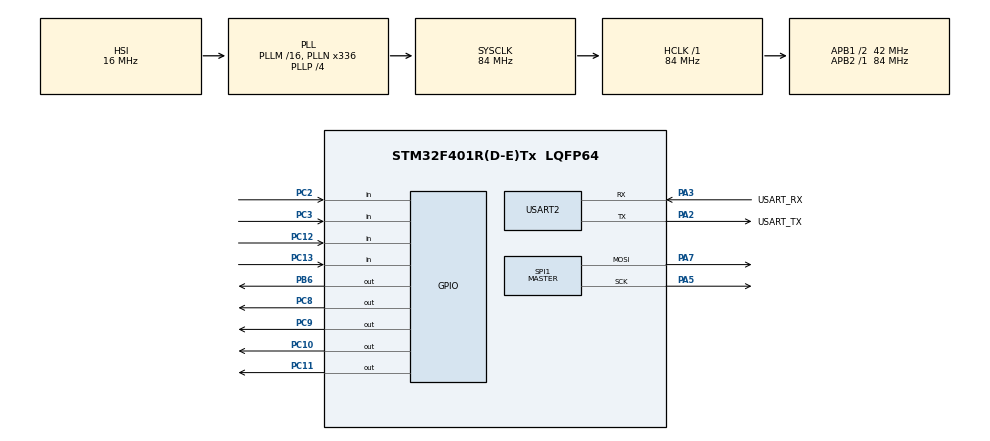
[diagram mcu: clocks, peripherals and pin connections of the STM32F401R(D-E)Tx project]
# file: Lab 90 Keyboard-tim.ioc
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Dma.Request0=SPI1_TX
Dma.SPI1_TX.0.Direction=DMA_MEMORY_TO_PERIPH
Dma.SPI1_TX.0.FIFOMode=DMA_FIFOMODE_DISABLE
Dma.SPI1_TX.0.Instance=DMA2_Stream3
Dma.SPI1_TX.0.MemDataAlignment=DMA_MDATAALIGN_BYTE
Dma.SPI1_TX.0.MemInc=DMA_MINC_ENABLE
Dma.SPI1_TX.0.Mode=DMA_NORMAL
Dma.SPI1_TX.0.PeriphDataAlignment=DMA_PDATAALIGN_BYTE
Dma.SPI1_TX.0.PeriphInc=DMA_PINC_DISABLE
Dma.SPI1_TX.0.Priority=DMA_PRIORITY_LOW
Mcu.Family=STM32F4
Mcu.Name=STM32F401R(D-E)Tx
Mcu.Package=LQFP64
NVIC.DMA2_Stream3_IRQn=true\:0\:0\:false\:false\:true\:false\:true\:true
NVIC.PriorityGroup=NVIC_PRIORITYGROUP_0
NVIC.SPI1_IRQn=true\:0\:0\:false\:false\:true\:true\:true\:true
NVIC.TIM2_IRQn=true\:0\:0\:false\:false\:true\:true\:true\:true
NVIC.TIM3_IRQn=true\:0\:0\:false\:false\:true\:true\:true\:true
PA13.GPIO_Label=TMS
PA13.Mode=Serial_Wire
PA13.Signal=SYS_JTMS-SWDIO
PA14.GPIO_Label=TCK
PA14.Mode=Serial_Wire
PA14.Signal=SYS_JTCK-SWCLK
PA2.GPIO_Label=USART_TX
PA2.GPIO_Mode=GPIO_MODE_AF_PP
PA2.GPIO_PuPd=GPIO_NOPULL
PA2.GPIO_Speed=GPIO_SPEED_FREQ_LOW
PA2.Mode=Asynchronous
PA2.Signal=USART2_TX
PA3.GPIO_Label=USART_RX
PA3.GPIO_Mode=GPIO_MODE_AF_PP
PA3.GPIO_PuPd=GPIO_NOPULL
PA3.GPIO_Speed=GPIO_SPEED_FREQ_LOW
PA3.Mode=Asynchronous
PA3.Signal=USART2_RX
PA5.Mode=TX_Only_Simplex_Unidirect_Master
PA5.Signal=SPI1_SCK
PA7.Mode=TX_Only_Simplex_Unidirect_Master
PA7.Signal=SPI1_MOSI
PB3.GPIO_Label=SWO
PB3.Signal=SYS_JTDO-SWO
PB6.Signal=GPIO_Output
PC10.Signal=GPIO_Output
PC11.Signal=GPIO_Output
PC12.Signal=GPIO_Input
PC13-ANTI_TAMP.Signal=GPIO_Input
PC14-OSC32_IN.Mode=LSE-External-Oscillator
PC14-OSC32_IN.Signal=RCC_OSC32_IN
PC15-OSC32_OUT.Mode=LSE-External-Oscillator
PC15-OSC32_OUT.Signal=RCC_OSC32_OUT
PC2.Signal=GPIO_Input
PC3.Signal=GPIO_Input
PC8.Signal=GPIO_Output
PC9.Signal=GPIO_Output
PH0\ -\ OSC_IN.Mode=HSE-External-Clock-Source
PH0\ -\ OSC_IN.Signal=RCC_OSC_IN
PH1\ -\ OSC_OUT.Mode=HSE-External-Clock-Source
PH1\ -\ OSC_OUT.Signal=RCC_OSC_OUT
ProjectManager.HeapSize=0x200
ProjectManager.StackSize=0x400
ProjectManager.TargetToolchain=STM32CubeIDE
RCC.48MHZClocksFreq_Value=48000000
RCC.AHBFreq_Value=84000000
RCC.APB1CLKDivider=RCC_HCLK_DIV2
RCC.APB1Freq_Value=42000000
RCC.APB1TimFreq_Value=84000000
RCC.APB2Freq_Value=84000000
RCC.APB2TimFreq_Value=84000000
RCC.CortexFreq_Value=84000000
RCC.HCLKFreq_Value=84000000
RCC.HSE_VALUE=8000000
RCC.HSI_VALUE=16000000
RCC.PLLN=336
RCC.PLLP=RCC_PLLP_DIV4
RCC.PLLQ=7
RCC.SYSCLKFreq_VALUE=84000000
RCC.SYSCLKSource=RCC_SYSCLKSOURCE_PLLCLK
RCC.VCOOutputFreq_Value=336000000
SPI1.BaudRatePrescaler=SPI_BAUDRATEPRESCALER_4
SPI1.Direction=SPI_DIRECTION_2LINES
SPI1.Mode=SPI_MODE_MASTER
SPI1.VirtualType=VM_MASTER
TIM2.Period=40
TIM2.Prescaler=8400
TIM3.Period=100-1
TIM3.Prescaler=8400-1
USART2.VirtualMode=VM_ASYNC
VP_TIM2_VS_ClockSourceINT.Mode=Internal
VP_TIM3_VS_ClockSourceINT.Mode=Internal
board=NUCLEO-F401RE

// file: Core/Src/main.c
/* USER CODE BEGIN Header */
/**
 ******************************************************************************
 * @file           : main.c
 * @brief          : Main program body
 ******************************************************************************
 * @attention
 *
 * Copyright (c) 2023 STMicroelectronics.
 * All rights reserved.
 *
 * This software is licensed under terms that can be found in the LICENSE file
 * in the root directory of this software component.
 * If no LICENSE file comes with this software, it is provided AS-IS.
 *
 ******************************************************************************
 */
/* USER CODE END Header */
#include "main.h"

/* USER CODE BEGIN Includes */
#include <stdio.h>
#include <math.h>
/* USER CODE END Includes */

/* USER CODE BEGIN PD */
#define N_COLS 4
#define N_ROWS 4
/* USER CODE END PD */

SPI_HandleTypeDef hspi1;
DMA_HandleTypeDef hdma_spi1_tx;

TIM_HandleTypeDef htim2;
TIM_HandleTypeDef htim3;

UART_HandleTypeDef huart2;

/* USER CODE BEGIN PV */
//defined pins for output and input in order of correct activation
uint16_t input[] = { GPIO_PIN_3, GPIO_PIN_2, GPIO_PIN_13, GPIO_PIN_12 };
uint16_t output[] = { GPIO_PIN_8, GPIO_PIN_9, GPIO_PIN_10, GPIO_PIN_11 };
static uint8_t data[5][2];

/* USER CODE END PV */

void SystemClock_Config(void);
static void MX_GPIO_Init(void);
static void MX_DMA_Init(void);
static void MX_USART2_UART_Init(void);
static void MX_TIM3_Init(void);
static void MX_SPI1_Init(void);
static void MX_TIM2_Init(void);

/* USER CODE BEGIN 0 */
void HAL_TIM_PeriodElapsedCallback(TIM_HandleTypeDef *htim) {
	if (htim == &htim3) {
		static const char lett[16] = "CDEF89AB45670123"; //initialized letters array
		static char state[16] = { 0 }; //initialized states of buttons
		static int col = 0; //index for column

		char string[64];
		HAL_GPIO_WritePin(GPIOC, output[col], 1);

		for (int i = 0; i < N_ROWS; i++) {
			int on = !HAL_GPIO_ReadPin(GPIOC, input[i]);

			if (on && state[col + i * N_ROWS] == 0) {

				/*int size = sprintf(string, "Pressed char: %c\r\n", lett[col + i * N_ROWS]);
				HAL_UART_Transmit(&huart2, string, size, 50);*/
				for(int k=0; k<5; k++){
					data[k][0]  = 0;
					data[k][1]  = pow(2, 4-k);
				}
				//HAL_SPI_Transmit_DMA(&hspi1, &data, 2);
				data[col][0] = pow(2, i);

				state[col + i * N_ROWS] = 1;

			} else if (!on && state[col + i * N_ROWS] == 1) {
				state[col + i * N_ROWS] = 0;
			}
		}

		HAL_GPIO_WritePin(GPIOC, output[col], 0);
		col = (col+1) % N_COLS;

	}
	if (htim == &htim2) {
			static int idx = 0;
			HAL_SPI_Transmit_DMA(&hspi1, &data[idx], 2);
			idx = (idx + 1) % 5;
		}

}

void HAL_SPI_TxCpltCallback (SPI_HandleTypeDef * hspi){
	HAL_GPIO_TogglePin(GPIOB, GPIO_PIN_6);
	HAL_GPIO_TogglePin(GPIOB, GPIO_PIN_6);
}
/* USER CODE END 0 */

int main(void)
{

  /* MCU Configuration--------------------------------------------------------*/

  /* Reset of all peripherals, Initializes the Flash interface and the Systick. */
  HAL_Init();

  /* Configure the system clock */
  SystemClock_Config();

  /* Initialize all configured peripherals */
  MX_GPIO_Init();
  MX_DMA_Init();
  MX_USART2_UART_Init();
  MX_TIM3_Init();
  MX_SPI1_Init();
  MX_TIM2_Init();
  /* USER CODE BEGIN 2 */
	HAL_TIM_Base_Start_IT(&htim3);
	HAL_TIM_Base_Start_IT(&htim2);

  /* USER CODE END 2 */

  /* Infinite loop */
  /* USER CODE BEGIN WHILE */
	while (1) {
		int i = 0;
		i++;
    /* USER CODE END WHILE */

	}
}

void SystemClock_Config(void)
{
  RCC_OscInitTypeDef RCC_OscInitStruct = {0};
  RCC_ClkInitTypeDef RCC_ClkInitStruct = {0};

  /** Configure the main internal regulator output voltage
  */
  __HAL_RCC_PWR_CLK_ENABLE();
  __HAL_PWR_VOLTAGESCALING_CONFIG(PWR_REGULATOR_VOLTAGE_SCALE2);

  /** Initializes the RCC Oscillators according to the specified parameters
  * in the RCC_OscInitTypeDef structure.
  */
  RCC_OscInitStruct.OscillatorType = RCC_OSCILLATORTYPE_HSI;
  RCC_OscInitStruct.HSIState = RCC_HSI_ON;
  RCC_OscInitStruct.HSICalibrationValue = RCC_HSICALIBRATION_DEFAULT;
  RCC_OscInitStruct.PLL.PLLState = RCC_PLL_ON;
  RCC_OscInitStruct.PLL.PLLSource = RCC_PLLSOURCE_HSI;
  RCC_OscInitStruct.PLL.PLLM = 16;
  RCC_OscInitStruct.PLL.PLLN = 336;
  RCC_OscInitStruct.PLL.PLLP = RCC_PLLP_DIV4;
  RCC_OscInitStruct.PLL.PLLQ = 7;
  if (HAL_RCC_OscConfig(&RCC_OscInitStruct) != HAL_OK)
  {
    Error_Handler();
  }

  /** Initializes the CPU, AHB and APB buses clocks
  */
  RCC_ClkInitStruct.ClockType = RCC_CLOCKTYPE_HCLK|RCC_CLOCKTYPE_SYSCLK
                              |RCC_CLOCKTYPE_PCLK1|RCC_CLOCKTYPE_PCLK2;
  RCC_ClkInitStruct.SYSCLKSource = RCC_SYSCLKSOURCE_PLLCLK;
  RCC_ClkInitStruct.AHBCLKDivider = RCC_SYSCLK_DIV1;
  RCC_ClkInitStruct.APB1CLKDivider = RCC_HCLK_DIV2;
  RCC_ClkInitStruct.APB2CLKDivider = RCC_HCLK_DIV1;

  if (HAL_RCC_ClockConfig(&RCC_ClkInitStruct, FLASH_LATENCY_2) != HAL_OK)
  {
    Error_Handler();
  }
}

static void MX_SPI1_Init(void)
{

  /* SPI1 parameter configuration*/
  hspi1.Instance = SPI1;
  hspi1.Init.Mode = SPI_MODE_MASTER;
  hspi1.Init.Direction = SPI_DIRECTION_2LINES;
  hspi1.Init.DataSize = SPI_DATASIZE_8BIT;
  hspi1.Init.CLKPolarity = SPI_POLARITY_LOW;
  hspi1.Init.CLKPhase = SPI_PHASE_1EDGE;
  hspi1.Init.NSS = SPI_NSS_SOFT;
  hspi1.Init.BaudRatePrescaler = SPI_BAUDRATEPRESCALER_4;
  hspi1.Init.FirstBit = SPI_FIRSTBIT_MSB;
  hspi1.Init.TIMode = SPI_TIMODE_DISABLE;
  hspi1.Init.CRCCalculation = SPI_CRCCALCULATION_DISABLE;
  hspi1.Init.CRCPolynomial = 10;
  if (HAL_SPI_Init(&hspi1) != HAL_OK)
  {
    Error_Handler();
  }

}

static void MX_TIM2_Init(void)
{

  TIM_ClockConfigTypeDef sClockSourceConfig = {0};
  TIM_MasterConfigTypeDef sMasterConfig = {0};

  htim2.Instance = TIM2;
  htim2.Init.Prescaler = 8400;
  htim2.Init.CounterMode = TIM_COUNTERMODE_UP;
  htim2.Init.Period = 40;
  htim2.Init.ClockDivision = TIM_CLOCKDIVISION_DIV1;
  htim2.Init.AutoReloadPreload = TIM_AUTORELOAD_PRELOAD_DISABLE;
  if (HAL_TIM_Base_Init(&htim2) != HAL_OK)
  {
    Error_Handler();
  }
  sClockSourceConfig.ClockSource = TIM_CLOCKSOURCE_INTERNAL;
  if (HAL_TIM_ConfigClockSource(&htim2, &sClockSourceConfig) != HAL_OK)
  {
    Error_Handler();
  }
  sMasterConfig.MasterOutputTrigger = TIM_TRGO_RESET;
  sMasterConfig.MasterSlaveMode = TIM_MASTERSLAVEMODE_DISABLE;
  if (HAL_TIMEx_MasterConfigSynchronization(&htim2, &sMasterConfig) != HAL_OK)
  {
    Error_Handler();
  }

}

static void MX_TIM3_Init(void)
{

  TIM_ClockConfigTypeDef sClockSourceConfig = {0};
  TIM_MasterConfigTypeDef sMasterConfig = {0};

  htim3.Instance = TIM3;
  htim3.Init.Prescaler = 8400-1;
  htim3.Init.CounterMode = TIM_COUNTERMODE_UP;
  htim3.Init.Period = 100-1;
  htim3.Init.ClockDivision = TIM_CLOCKDIVISION_DIV1;
  htim3.Init.AutoReloadPreload = TIM_AUTORELOAD_PRELOAD_DISABLE;
  if (HAL_TIM_Base_Init(&htim3) != HAL_OK)
  {
    Error_Handler();
  }
  sClockSourceConfig.ClockSource = TIM_CLOCKSOURCE_INTERNAL;
  if (HAL_TIM_ConfigClockSource(&htim3, &sClockSourceConfig) != HAL_OK)
  {
    Error_Handler();
  }
  sMasterConfig.MasterOutputTrigger = TIM_TRGO_RESET;
  sMasterConfig.MasterSlaveMode = TIM_MASTERSLAVEMODE_DISABLE;
  if (HAL_TIMEx_MasterConfigSynchronization(&htim3, &sMasterConfig) != HAL_OK)
  {
    Error_Handler();
  }

}

static void MX_USART2_UART_Init(void)
{

  huart2.Instance = USART2;
  huart2.Init.BaudRate = 115200;
  huart2.Init.WordLength = UART_WORDLENGTH_8B;
  huart2.Init.StopBits = UART_STOPBITS_1;
  huart2.Init.Parity = UART_PARITY_NONE;
  huart2.Init.Mode = UART_MODE_TX_RX;
  huart2.Init.HwFlowCtl = UART_HWCONTROL_NONE;
  huart2.Init.OverSampling = UART_OVERSAMPLING_16;
  if (HAL_UART_Init(&huart2) != HAL_OK)
  {
    Error_Handler();
  }

}

static void MX_DMA_Init(void)
{

  /* DMA controller clock enable */
  __HAL_RCC_DMA2_CLK_ENABLE();

  /* DMA interrupt init */
  /* DMA2_Stream3_IRQn interrupt configuration */
  HAL_NVIC_SetPriority(DMA2_Stream3_IRQn, 0, 0);
  HAL_NVIC_EnableIRQ(DMA2_Stream3_IRQn);

}

static void MX_GPIO_Init(void)
{
  GPIO_InitTypeDef GPIO_InitStruct = {0};

  /* GPIO Ports Clock Enable */
  __HAL_RCC_GPIOC_CLK_ENABLE();
  __HAL_RCC_GPIOH_CLK_ENABLE();
  __HAL_RCC_GPIOA_CLK_ENABLE();
  __HAL_RCC_GPIOB_CLK_ENABLE();

  /*Configure GPIO pin Output Level */
  HAL_GPIO_WritePin(GPIOC, GPIO_PIN_8|GPIO_PIN_9|GPIO_PIN_10|GPIO_PIN_11, GPIO_PIN_RESET);

  /*Configure GPIO pin Output Level */
  HAL_GPIO_WritePin(GPIOB, GPIO_PIN_6, GPIO_PIN_RESET);

  /*Configure GPIO pins : PC13 PC2 PC3 PC12 */
  GPIO_InitStruct.Pin = GPIO_PIN_13|GPIO_PIN_2|GPIO_PIN_3|GPIO_PIN_12;
  GPIO_InitStruct.Mode = GPIO_MODE_INPUT;
  GPIO_InitStruct.Pull = GPIO_NOPULL;
  HAL_GPIO_Init(GPIOC, &GPIO_InitStruct);

  /*Configure GPIO pins : PC8 PC9 PC10 PC11 */
  GPIO_InitStruct.Pin = GPIO_PIN_8|GPIO_PIN_9|GPIO_PIN_10|GPIO_PIN_11;
  GPIO_InitStruct.Mode = GPIO_MODE_OUTPUT_PP;
  GPIO_InitStruct.Pull = GPIO_NOPULL;
  GPIO_InitStruct.Speed = GPIO_SPEED_FREQ_LOW;
  HAL_GPIO_Init(GPIOC, &GPIO_InitStruct);

  /*Configure GPIO pin : PB6 */
  GPIO_InitStruct.Pin = GPIO_PIN_6;
  GPIO_InitStruct.Mode = GPIO_MODE_OUTPUT_PP;
  GPIO_InitStruct.Pull = GPIO_NOPULL;
  GPIO_InitStruct.Speed = GPIO_SPEED_FREQ_LOW;
  HAL_GPIO_Init(GPIOB, &GPIO_InitStruct);

}

void Error_Handler(void)
{
	__disable_irq();
	while (1) {
	}
}
